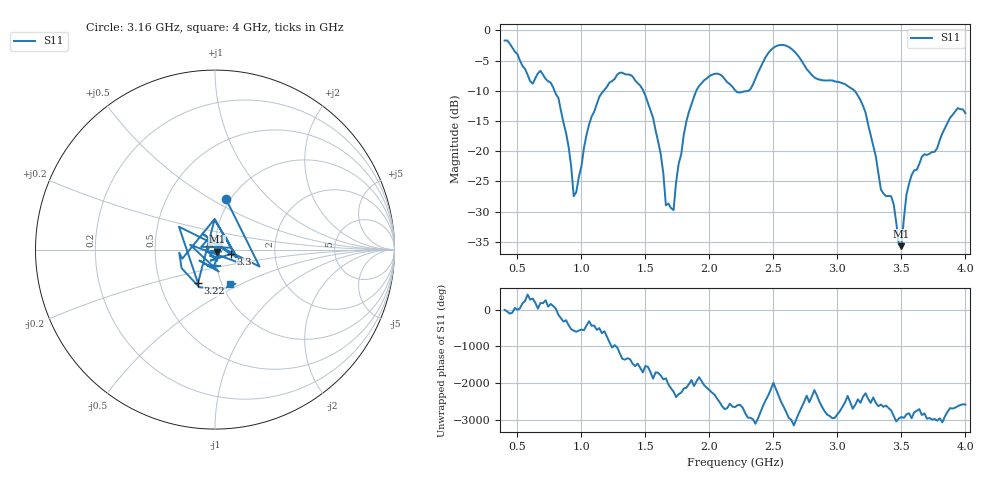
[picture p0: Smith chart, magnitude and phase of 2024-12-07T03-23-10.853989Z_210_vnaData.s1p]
!Created with skrf (http://scikit-rf.org).
# Hz S RI R 50.0
!freq ReS11 ImS11
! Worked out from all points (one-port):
!   181 points, 400 MHz to 4 GHz, reference 50 ohm
!   lowest |S11| = -35.7 dB at 3.5 GHz (marker M1), VSWR 1.03, Z = 51.2 - j1.19 ohm
!   |S11| at or under -10 dB: 790.2 MHz to 1.174 GHz (383.5 MHz wide, 39.1 % of centre); 1.484 GHz to 1.897 GHz (413.5 MHz wide, 24.5 % of centre); 3.134 GHz to end of sweep (the widest 3 of 4)
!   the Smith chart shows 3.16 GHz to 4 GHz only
!   S11 on the Smith chart (normalised r, x): 3.16 GHz: 0.95, +0.59; 3.22 GHz: 0.78, -0.30; 3.3 GHz: 1.19, -0.06; 4 GHz: 1.09, -0.43
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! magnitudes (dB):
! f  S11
! 400 MHz  -1.7
! 600 MHz  -8.4
! 760 MHz  -8.6
! 860 MHz  -15.3
! 940 MHz  -27.4
! 1.08 GHz  -14.2
! 1.3 GHz  -7.0
! 1.52 GHz  -12.0
! 1.62 GHz  -20.5
! 1.66 GHz  -28.9
! 1.72 GHz  -29.7
! 1.76 GHz  -22.0
! 1.92 GHz  -9.2
! 2.06 GHz  -7.1
! 2.2 GHz  -9.9
! 2.32 GHz  -9.7
! 2.5 GHz  -2.9
! 2.66 GHz  -3.4
! 3.1 GHz  -9.5
! 3.16 GHz  -10.8
! 3.22 GHz  -13.6
! 3.3 GHz  -20.9
! 3.34 GHz  -26.3
! 3.42 GHz  -27.4
! 3.5 GHz  -35.7
! 3.56 GHz  -25.4
! 3.94 GHz  -12.9
! 4 GHz  -13.7
